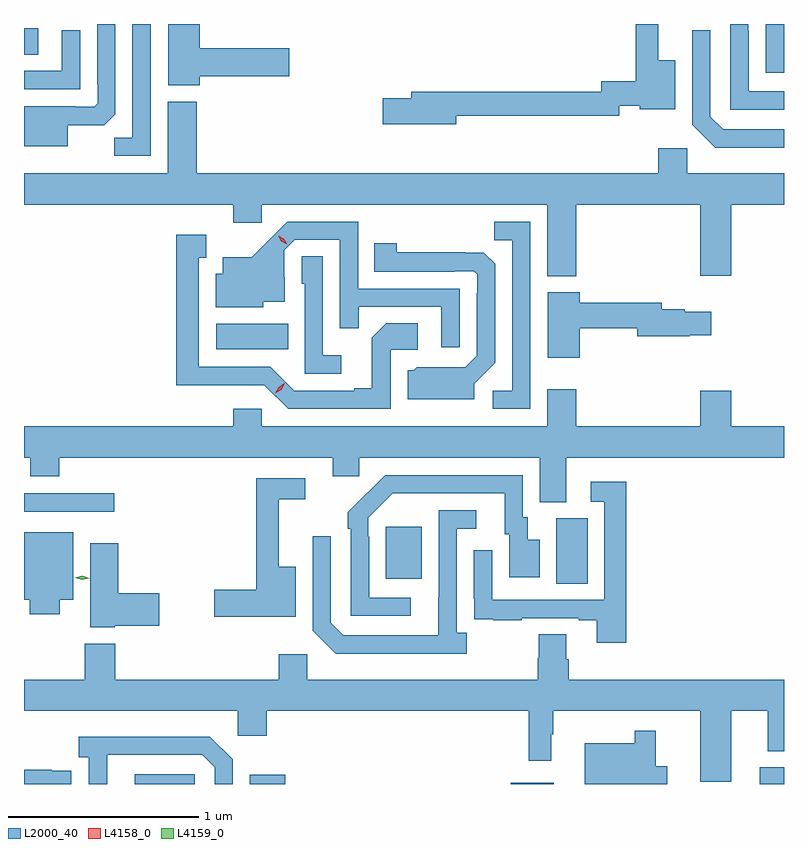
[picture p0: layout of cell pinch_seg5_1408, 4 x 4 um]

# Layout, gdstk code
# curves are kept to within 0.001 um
import gdstk
lib = gdstk.Library(unit=1e-6, precision=1e-09)
def R(c, l, rs):  # rectangles x0, y0, x1, y1
    for r in rs: c.add(gdstk.rectangle(r[:2], r[2:], *l))
def P(c, l, *ps):  # polygons
    for p in ps: c.add(gdstk.Polygon(p, *l))
L2000_40 = (2000, 40)
L4158_0 = (4158, 0)
L4159_0 = (4159, 0)

pinch_seg5_1408 = lib.new_cell('pinch_seg5_1408')
R(pinch_seg5_1408, L2000_40, [(126.069,889.674,126.384,889.725), (126.674,889.674,126.862,889.723), (128.048,889.674,128.275,889.681), (129.359,889.674,129.486,889.762), (128.288,890.728,128.452,891.072), (127.391,890.753,127.579,891.028), (125.486,891.108,125.962,891.204), (126.498,891.962,126.878,892.096), (129.389,893.417,129.486,893.674), (125.486,893.512,125.56,893.652)])
P(pinch_seg5_1408, L2000_40, [(125.716,893.141),(125.908,893.141),(125.967,893.2),(125.967,893.674),(125.871,893.674),(125.871,893.356),(125.874,893.356),(125.874,893.256),(125.856,893.238),(125.756,893.238),(125.756,893.242),(125.486,893.242),(125.486,893.03),(125.716,893.03)],
  [(127.762,893.19),(128.619,893.19),(128.619,893.244),(128.726,893.244),(128.726,893.225),(128.914,893.225),(128.914,893.482),(128.825,893.482),(128.825,893.674),(128.707,893.674),(128.707,893.372),(128.523,893.372),(128.523,893.318),(127.523,893.318),(127.523,893.282),(127.374,893.282),(127.374,893.147),(127.762,893.147)],
  [(126.153,893.674),(126.057,893.674),(126.057,893.075),(125.962,893.075),(125.962,892.98),(126.153,892.98)],
  [(126.412,893.399),(126.883,893.399),(126.883,893.546),(126.412,893.546),(126.412,893.674),(126.245,893.674),(126.245,893.351),(126.412,893.351)],
  [(129.486,893.319),(129.3,893.319),(129.3,893.639),(129.297,893.639),(129.297,893.674),(129.204,893.674),(129.204,893.223),(129.486,893.223)],
  [(125.781,893.641),(125.685,893.641),(125.685,893.427),(125.486,893.427),(125.486,893.331),(125.781,893.331)],
  [(129.486,893.121),(129.165,893.121),(129.099,893.187),(129.099,893.641),(129.003,893.641),(129.003,893.145),(129.124,893.024),(129.486,893.024)],
  [(128.393,892.724),(129.044,892.724),(129.044,892.35),(129.208,892.35),(129.208,892.724),(129.486,892.724),(129.486,892.888),(128.976,892.888),(128.976,893.02),(128.825,893.02),(128.825,892.888),(126.395,892.888),(126.395,893.266),(126.242,893.266),(126.242,892.888),(125.486,892.888),(125.486,892.724),(126.587,892.724),(126.587,892.629),(126.738,892.629),(126.738,892.724),(128.24,892.724),(128.24,892.346),(128.393,892.346)],
  [(128.151,892.632),(127.96,892.632),(127.96,892.537),(128.055,892.537),(128.055,891.744),(127.953,891.744),(127.953,891.648),(128.151,891.648)],
  [(127.779,892.281),(127.245,892.281),(127.245,892.632),(126.872,892.632),(126.685,892.447),(126.533,892.447),(126.533,892.36),(126.494,892.36),(126.494,892.184),(126.744,892.184),(126.744,892.211),(126.859,892.211),(126.859,892.34),(126.855,892.34),(126.855,892.482),(126.912,892.539),(127.149,892.539),(127.149,892.072),(127.247,892.072),(127.247,892.185),(127.683,892.185),(127.683,891.972),(127.779,891.972)],
  [(127.416,891.96),(127.558,891.96),(127.558,892.1),(127.393,892.1),(127.317,892.024),(127.317,891.757),(127.223,891.757),(127.223,891.744),(126.909,891.744),(126.783,891.87),(126.406,891.87),(126.406,892.443),(126.445,892.443),(126.445,892.564),(126.288,892.564),(126.288,891.773),(126.75,891.774),(126.876,891.648),(127.416,891.648)],
  [(127.855,891.78),(127.965,891.89),(127.965,892.412),(127.906,892.471),(127.449,892.472),(127.449,892.519),(127.33,892.519),(127.33,892.371),(127.754,892.371),(127.754,892.374),(127.854,892.374),(127.872,892.356),(127.872,892.256),(127.869,892.256),(127.869,891.927),(127.809,891.867),(127.552,891.868),(127.536,891.852),(127.505,891.852),(127.505,891.698),(127.855,891.698)],
  [(127.156,891.931),(127.059,891.931),(127.059,892.451),(126.948,892.451),(126.948,892.308),(126.963,892.308),(126.963,891.834),(127.156,891.834)],
  [(128.41,892.072),(128.714,892.072),(128.714,892.03),(128.99,892.03),(128.99,892.037),(129.102,892.037),(129.102,892.159),(128.964,892.159),(128.964,892.172),(128.842,892.172),(128.842,892.208),(128.41,892.208),(128.41,892.261),(128.243,892.261),(128.243,891.918),(128.41,891.918)],
  [(128.341,891.392),(129.486,891.392),(129.486,891.556),(129.208,891.556),(129.208,891.745),(129.044,891.745),(129.044,891.556),(128.393,891.556),(128.393,891.751),(128.24,891.751),(128.24,891.556),(126.738,891.556),(126.738,891.649),(126.587,891.649),(126.587,891.556),(125.486,891.556),(125.486,891.392),(125.519,891.392),(125.519,891.293),(125.672,891.293),(125.672,891.392),(127.112,891.392),(127.112,891.294),(127.251,891.294),(127.251,891.392),(128.201,891.392),(128.201,891.157),(128.341,891.157)],
  [(127.522,890.655),(127.302,890.655),(127.302,890.975),(127.299,890.975),(127.299,891.075),(127.428,891.204),(128.015,891.204),(128.015,890.988),(128.039,890.988),(128.039,890.763),(128.2,890.763),(128.2,890.959),(128.137,890.959),(128.137,891.078),(128.112,891.078),(128.112,891.3),(127.388,891.3),(127.191,891.105),(127.191,891.017),(127.206,891.017),(127.206,890.559),(127.522,890.559)],
  [(126.916,890.818),(126.827,890.818),(126.827,891.174),(126.967,891.174),(126.967,891.282),(126.709,891.282),(126.709,890.696),(126.486,890.696),(126.486,890.554),(126.916,890.554)],
  [(128.657,891.265),(128.469,891.265),(128.469,891.159),(128.541,891.159),(128.541,890.643),(127.95,890.643),(127.95,890.905),(127.854,890.905),(127.854,890.65),(127.855,890.65),(127.855,890.541),(127.957,890.541),(127.957,890.535),(128.105,890.535),(128.105,890.547),(128.405,890.547),(128.405,890.535),(128.501,890.535),(128.501,890.418),(128.657,890.418)],
  [(127.816,890.47),(127.764,890.47),(127.764,891.018),(127.867,891.018),(127.867,891.114),(127.668,891.114),(127.667,890.457),(127.167,890.457),(127.101,890.523),(127.101,890.977),(127.005,890.977),(127.005,890.481),(127.126,890.36),(127.816,890.36)],
  [(125.674,890.645),(125.746,890.645),(125.746,890.998),(125.486,890.998),(125.486,890.645),(125.516,890.645),(125.516,890.567),(125.674,890.567)],
  [(125.964,890.507),(126.199,890.507),(126.199,890.678),(125.981,890.678),(125.981,890.941),(125.834,890.941),(125.834,890.498),(125.964,890.498)],
  [(129.208,890.06),(129.401,890.06),(129.401,889.847),(129.486,889.847),(129.486,890.224),(128.354,890.224),(128.354,890.33),(128.341,890.33),(128.341,890.462),(128.194,890.462),(128.194,890.337),(128.189,890.337),(128.189,890.224),(126.978,890.224),(126.978,890.356),(126.827,890.356),(126.827,890.224),(125.966,890.224),(125.966,890.413),(125.806,890.413),(125.806,890.224),(125.486,890.224),(125.486,890.06),(126.612,890.06),(126.612,889.929),(126.764,889.929),(126.764,890.06),(128.143,890.06),(128.143,889.797),(128.26,889.797),(128.26,889.937),(128.272,889.937),(128.272,890.06),(129.044,890.06),(129.044,889.686),(129.208,889.686)],
  [(128.872,889.767),(128.811,889.767),(128.811,889.954),(128.7,889.954),(128.7,889.888),(128.438,889.888),(128.438,889.674),(128.872,889.674)],
  [(125.923,889.827),(126.423,889.827),(126.489,889.761),(126.489,889.674),(126.585,889.674),(126.585,889.803),(126.464,889.924),(125.775,889.924),(125.775,889.814),(125.826,889.814),(125.826,889.674),(125.923,889.674)],
  [(125.735,889.743),(125.633,889.743),(125.633,889.75),(125.486,889.75),(125.486,889.674),(125.735,889.674)])
P(pinch_seg5_1408, L4158_0, [(126.871,892.514),(126.84,892.53),(126.823,892.559),(126.823,892.559),(126.823,892.559),(126.854,892.544),(126.871,892.515),(126.871,892.514)],
  [(126.808,891.731),(126.808,891.731),(126.826,891.763),(126.857,891.782),(126.858,891.782),(126.858,891.782),(126.84,891.749),(126.808,891.731)])
P(pinch_seg5_1408, L4159_0, [(125.791,890.749),(125.754,890.759),(125.753,890.76),(125.754,890.76),(125.792,890.769),(125.829,890.758),(125.829,890.758),(125.829,890.758)])

lib.write_gds('pinch_seg5_1408.gds')
